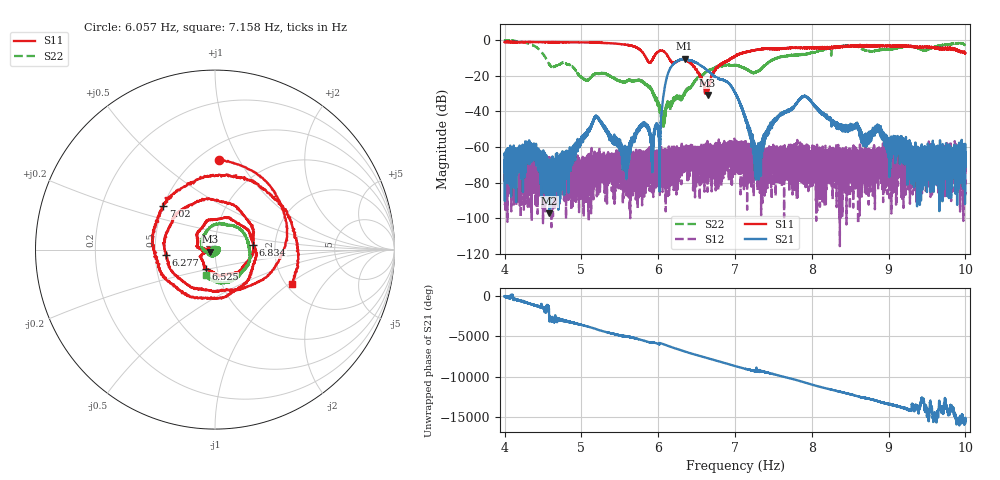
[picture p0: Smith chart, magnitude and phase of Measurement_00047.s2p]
!Created with skrf (http://scikit-rf.org).
# Hz S RI R 50.0
!freq ReS11 ImS11 ReS21 ImS21 ReS12 ImS12 ReS22 ImS22
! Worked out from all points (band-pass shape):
!   14001 points, 4 Hz to 10 Hz, reference 50 ohm
!   highest |S21| = -10.47 dB at 6.343 Hz (marker M1); lowest = -97.2 dB at 4.58 Hz (marker M2)
!   |S21| within 3 dB of the highest: 6.196 Hz to 6.528 Hz (331.7 mHz wide, 5.21 % of centre); 6.52831 Hz to 6.529486 Hz (1.175 mHz wide, 0.018 % of centre)
!   lowest |S11| = -30.7 dB at 6.643 Hz (marker M3), VSWR 1.06, Z = 47.4 - j1.17 ohm
!   |S11| at or under -10 dB: 5.843 Hz to 5.935 Hz (92.03 mHz wide, 1.56 % of centre); 5.935835 Hz to 5.935889 Hz (53.61 uHz wide, 0.000903 % of centre); 6.14 Hz to 6.958 Hz (818.5 mHz wide, 12.5 % of centre)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
!   |S22| runs from -50.0 to -0.2 dB; largest |S21 - S12| = 0.3
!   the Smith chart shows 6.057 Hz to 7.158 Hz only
!   S11 on the Smith chart (normalised r, x): 6.057 Hz: 0.63, +0.83; 6.277 Hz: 0.57, -0.04; 6.525 Hz: 0.88, -0.19; 6.834 Hz: 1.54, +0.08; 7.02 Hz: 0.50, +0.28; 7.158 Hz: 2.14, -1.05
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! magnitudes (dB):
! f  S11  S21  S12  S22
! 4 Hz  -1.1  -64.5  -71.0  -0.2
! 4.371 Hz  -1.1  -63.5  -68.8  -2.9
! 4.58 Hz  -1.1  -97.2  -67.7  -13.5
! 5 Hz  -1.3  -57.1  -74.5  -20.7
! 5.193 Hz  -1.4  -42.7  -65.4  -18.7
! 5.573 Hz  -2.6  -68.0  -67.8  -23.6
! 5.789 Hz  -6.5  -47.6  -69.5  -23.0
! 6 Hz  -6.4  -49.2  -71.8  -34.6
! 6.057 Hz  -6.0  -34.8  -67.0  -41.6
! 6.277 Hz  -11.3  -11.1  -69.1  -31.9
! 6.343 Hz  -10.9  -10.5  -65.9  -30.5
! 6.525 Hz  -18.4  -13.4  -71.2  -20.8
! 6.643 Hz  -30.7  -17.1  -58.5  -17.1
! 6.834 Hz  -13.4  -22.1  -67.7  -14.5
! 7 Hz  -9.0  -29.5  -61.4  -14.0
! 7.02 Hz  -8.5  -31.0  -73.5  -14.1
! 7.158 Hz  -6.6  -47.0  -95.2  -16.5
! 7.299 Hz  -5.2  -64.0  -60.0  -17.7
! 7.525 Hz  -4.9  -44.8  -60.5  -10.3
! 8 Hz  -4.4  -34.9  -62.5  -6.9
! 9 Hz  -3.4  -59.7  -71.0  -5.1
! 10 Hz  -7.3  -63.0  -65.5  -3.1
